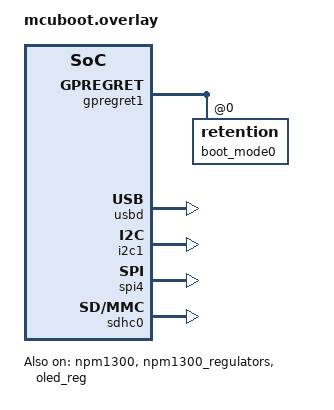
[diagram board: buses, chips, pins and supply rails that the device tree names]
/* SPDX-License-Identifier: Apache-2.0 */
/*
 * MCUboot device tree overlay
 *
 * Disable unnecessary devices for MCUboot to reduce boot power consumption.
 * Keep: SPI3 (external flash for DFU), I2C2 + CH1115 (OLED display), USB (serial recovery).
 */

/ {
	chosen {
		/* Keep external flash reference - needed for DFU */
		nordic,pm-ext-flash = &spi_flash;
		/* Boot mode retention for serial recovery trigger */
		zephyr,boot-mode = &boot_mode0;
		zephyr,uart-mcumgr = &cdc_acm_uart0;
	};
	aliases {
		mcuboot-button0 = &usr_btn;
	};
};

&uart0 {
	status = "disabled";
};

/* Boot mode retention register */
&gpregret1 {
	boot_mode0: boot_mode@0 {
		compatible = "zephyr,retention";
		status = "okay";
		reg = <0x0 0x1>;
	};
};

/* Enable USB for CDC serial recovery */
&usbd {
	status = "okay";
	cdc_acm_uart0: cdc_acm_uart0 {
		compatible = "zephyr,cdc-acm-uart";
	};
};

/* I2C1 and NPM1300 for motor haptic */
&i2c1 {
	status = "okay";
	/delete-property/ zephyr,pm-device-runtime-auto;
};

&npm1300 {
	status = "okay";
};
&npm1300_regulators {
	status = "okay";
};
&npm1300_buck1 {
	status = "okay";
};
&npm1300_gpio {
	status = "disabled";
};
&npm1300_buck2 {
	status = "disabled";
};
&npm1300_ldo1 {
	status = "disabled";
};
&npm1300_ldo2 {
	status = "disabled";
};
&npm1300_charger {
	status = "disabled";
};

/* Keep I2C2 and CH1115 enabled for OLED display */

/* Keep SPI3 enabled - external flash for DFU */

/* Enable SPI4 + SDHC for SD card erase in recovery mode */
&spi4 {
	status = "okay";
	/delete-property/ zephyr,pm-device-runtime-auto;
};
&sdhc0 {
	status = "okay";
};

/* Enable LDO2 for SD card power */
&npm1300_ldo2 {
	status = "okay";
};

/* Disable QSPI WiFi */
&qspi {
	status = "disabled";
};
&nrf70 {
	status = "disabled";
};

/* Disable PDM microphone */
&pdm0 {
	status = "disabled";
};

/* Disable ADC */
&adc {
	status = "disabled";
};

/* Disable regulators not needed in bootloader */
&npm1300_ldo1 {
	status = "disabled";
};
&npm1300_ldo2 {
	status = "disabled";
};
&oled_reg {
	status = "okay";
};
&rfsw_reg {
	status = "disabled";
};
